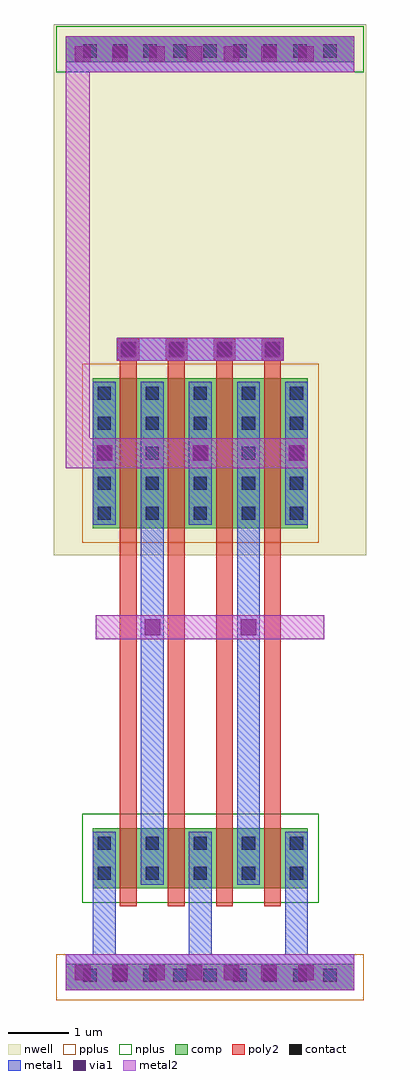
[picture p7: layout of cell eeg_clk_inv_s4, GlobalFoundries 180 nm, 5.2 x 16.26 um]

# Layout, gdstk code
import gdstk
lib = gdstk.Library(unit=1e-6, precision=1e-09)
def R(c, l, rs):  # rectangles x0, y0, x1, y1
    for r in rs: c.add(gdstk.rectangle(r[:2], r[2:], *l))
def A(c, l, x, y, w, h, nx, ny, dx, dy):  # array of equal rectangles
    R(c, l, [(x+i*dx, y+j*dy, x+i*dx+w, y+j*dy+h) for i in range(nx) for j in range(ny)])
nwell = (21, 0)
comp = (22, 0)
poly2 = (30, 0)
pplus = (31, 0)
nplus = (32, 0)
contact = (33, 0)
metal1 = (34, 0)
via1 = (35, 0)
metal2 = (36, 0)

eeg_clk_inv_s4 = lib.new_cell('eeg_clk_inv_s4')
R(eeg_clk_inv_s4, nwell, [(-0.2,7.25,5,16.1)])
R(eeg_clk_inv_s4, comp, [(0,0,4.8,0.44), (0.45,1.7,4.03,2.7), (0.45,7.7,4.03,10.2), (0,15.46,4.8,15.9)])
A(eeg_clk_inv_s4, poly2, 0.9, 1.4, 0.28, 6.3, 4, 1, 0.8, 0)
A(eeg_clk_inv_s4, poly2, 0.9, 7.4, 0.28, 3.46, 4, 1, 0.8, 0)
A(eeg_clk_inv_s4, poly2, 0.86, 10.5, 0.36, 0.36, 4, 1, 0.8, 0)
R(eeg_clk_inv_s4, pplus, [(-0.16,-0.16,4.96,0.6), (0.27,7.46,4.21,10.44)])
R(eeg_clk_inv_s4, nplus, [(0.27,1.46,4.21,2.94), (-0.16,15.3,4.96,16.06)])
A(eeg_clk_inv_s4, contact, 0.29, 0.14, 0.22, 0.22, 9, 2, 0.5, 15.4)
A(eeg_clk_inv_s4, contact, 0.53, 1.84, 0.22, 0.22, 5, 2, 0.8, 0.5)
A(eeg_clk_inv_s4, contact, 0.53, 7.84, 0.22, 0.22, 5, 5, 0.8, 0.5)
A(eeg_clk_inv_s4, contact, 0.93, 10.57, 0.22, 0.22, 4, 1, 0.8, 0)
A(eeg_clk_inv_s4, metal1, 0.45, 0.3, 0.38, 2.34, 3, 1, 1.6, 0)
A(eeg_clk_inv_s4, metal1, 0.45, 7.76, 0.38, 2.38, 3, 1, 1.6, 0)
R(eeg_clk_inv_s4, metal1, [(0,0,4.8,0.6), (0,0,4.8,0.44), (1.25,1.76,1.63,6.25), (2.85,1.76,3.23,6.25), (1.25,5.85,1.63,10.14), (2.85,5.85,3.23,10.14), (0.85,10.49,3.63,10.87), (0,15.3,4.8,15.9), (0,15.46,4.8,15.9)])
A(eeg_clk_inv_s4, via1, 0.15, 0.17, 0.26, 0.26, 7, 2, 0.62, 15.3)
A(eeg_clk_inv_s4, via1, 0.51, 8.82, 0.26, 0.26, 3, 1, 1.6, 0)
A(eeg_clk_inv_s4, via1, 0.91, 10.55, 0.26, 0.26, 4, 1, 0.8, 0)
R(eeg_clk_inv_s4, via1, [(1.31,5.92,1.57,6.18), (1.31,5.92,1.57,6.18), (2.91,5.92,3.17,6.18), (2.91,5.92,3.17,6.18)])
R(eeg_clk_inv_s4, metal2, [(0,0,4.8,0.6), (0.5,5.85,4.3,6.25), (0,8.7,4.03,9.2), (0,8.7,0.4,15.3), (0.85,10.49,3.63,10.87), (0,15.3,4.8,15.9)])

lib.write_gds('eeg_clk_inv_s4.gds')
